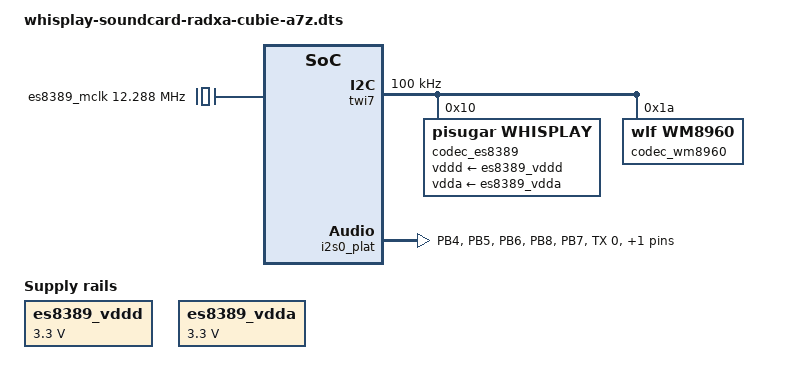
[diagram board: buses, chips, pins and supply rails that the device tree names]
/*
 * Device Tree overlay for the Whisplay unified sound card on
 * Radxa Cubie A7Z (Allwinner A733).
 *
 * WM8960 or ES8389 is connected to the 40-pin header:
 *   PIN_3  SDA  -> TWI7_SDA (PJ22)
 *   PIN_5  SCL  -> TWI7_SCL (PJ23)
 *   PIN_12 BCLK -> I2S0_BCLK (PB5)
 *   PIN_35 LRCK -> I2S0_LRCK (PB6)
 *   PIN_36 MCLK -> I2S0_MCLK (PB4)
 *   PIN_38 SDI  -> I2S0_DIN0 (PB8)
 *   PIN_40 SDO  -> I2S0_DOUT0 (PB7)
 */

/dts-v1/;
/plugin/;

/ {
	metadata {
		title = "Enable the unified Whisplay sound card on Cubie A7Z";
		compatible = "radxa,cubie-a7z";
		category = "misc";
		exclusive = "i2s0_plat", "i2s0_mach",
			    "PB4", "PB5", "PB6", "PB8", "PB7";
		description = "Enable WM8960 or ES8389 auto-detection on TWI7 and I2S0.";
	};

	fragment@0 {
		target-path = "/";
		__overlay__ {
			es8389_mclk: es8389-mclk {
				compatible = "fixed-clock";
				#clock-cells = <0>;
				clock-frequency = <12288000>;
				clock-output-names = "es8389-mclk";
			};

			es8389_vddd: es8389-vddd {
				compatible = "regulator-fixed";
				regulator-name = "es8389-vddd";
				regulator-min-microvolt = <3300000>;
				regulator-max-microvolt = <3300000>;
				regulator-boot-on;
				regulator-always-on;
			};

			es8389_vdda: es8389-vdda {
				compatible = "regulator-fixed";
				regulator-name = "es8389-vdda";
				regulator-min-microvolt = <3300000>;
				regulator-max-microvolt = <3300000>;
				regulator-boot-on;
				regulator-always-on;
			};

			whisplay_sound: whisplay-sound {
				compatible = "pisugar,whisplay-soundcard";
				i2s-controller = <&i2s0_plat>;
				whisplay,es8389-codec = <&codec_es8389>;
				whisplay,es8389-sysclk = <12288000>;
				whisplay,es8389-mclk-fs = <256>;
				whisplay,wm8960-codec = <&codec_wm8960>;
				whisplay,wm8960-sysclk = <12288000>;
				whisplay,wm8960-mclk-fs = <256>;
				whisplay,wm8960-bound-detect;
				whisplay,sunxi-a733-i2s;
				whisplay,force-48k;
				whisplay,no-continuous-clock;
				status = "okay";
			};
		};
	};

	/* TWI7 must also be enabled by sun60iw2p1-twi7.dtbo. */
	fragment@1 {
		target = <&twi7>;
		__overlay__ {
			#address-cells = <1>;
			#size-cells = <0>;
			/*
			 * The stock TWI7 overlay selects 400 kHz and the vendor
			 * FIFO/driver transfer mode.  ES8389 register bursts hit
			 * arbitration/BUS errors in that mode on A7Z.  The legacy
			 * engine path is stable and is sufficient for both codecs.
			 */
			clock-frequency = <100000>;
			twi_drv_used = <0>;
			status = "okay";

			codec_es8389: whisplay@10 {
				compatible = "pisugar,whisplay";
				reg = <0x10>;
				#sound-dai-cells = <0>;
				clocks = <&es8389_mclk>;
				clock-names = "mclk";
				vddd-supply = <&es8389_vddd>;
				vdda-supply = <&es8389_vdda>;
				everest,mclk-src = /bits/ 8 <0x40>;
				whisplay,a733-i2c-retry;
				status = "okay";
			};

			codec_wm8960: wm8960@1a {
				compatible = "wlf,wm8960";
				reg = <0x1a>;
				#sound-dai-cells = <0>;
				wlf,shared-lrclk;
				status = "okay";
			};
		};
	};

	fragment@2 {
		target = <&pio>;
		__overlay__ {
			whisplay_i2s0_mclk: whisplay-i2s0-mclk {
				pins = "PB4";
				function = "i2s0_mclk";
				allwinner,drive = <1>;
				bias-disable;
			};

			whisplay_i2s0_bclk: whisplay-i2s0-bclk {
				pins = "PB5";
				function = "i2s0_bclk";
				allwinner,drive = <1>;
				bias-disable;
			};

			whisplay_i2s0_lrck: whisplay-i2s0-lrck {
				pins = "PB6";
				function = "i2s0_lrck";
				allwinner,drive = <1>;
				bias-disable;
			};

			whisplay_i2s0_din: whisplay-i2s0-din {
				pins = "PB8";
				function = "i2s0_din0";
				allwinner,drive = <1>;
				bias-pull-down;
			};

			whisplay_i2s0_dout: whisplay-i2s0-dout {
				pins = "PB7";
				function = "i2s0_dout0";
				allwinner,drive = <1>;
				bias-pull-down;
			};

			whisplay_i2s0_sleep: whisplay-i2s0-sleep {
				pins = "PB4", "PB5", "PB6", "PB8", "PB7";
				function = "io_disabled";
				allwinner,drive = <1>;
				bias-disable;
			};
		};
	};

	fragment@3 {
		target = <&i2s0_plat>;
		__overlay__ {
			tdm-num = <0>;
			tx-pin = <0>;
			rx-pin = <0>;
			tx-hub-en;
			rx-sync-en;
			pinctrl-used;
			pinctrl-names = "default", "sleep";
			pinctrl-0 = <&whisplay_i2s0_mclk
				     &whisplay_i2s0_bclk
				     &whisplay_i2s0_lrck
				     &whisplay_i2s0_din
				     &whisplay_i2s0_dout>;
			pinctrl-1 = <&whisplay_i2s0_sleep>;
			status = "okay";
		};
	};

	/* Do not let the vendor machine driver claim I2S0 as a second card. */
	fragment@4 {
		target = <&i2s0_mach>;
		__overlay__ {
			status = "disabled";
		};
	};
};
